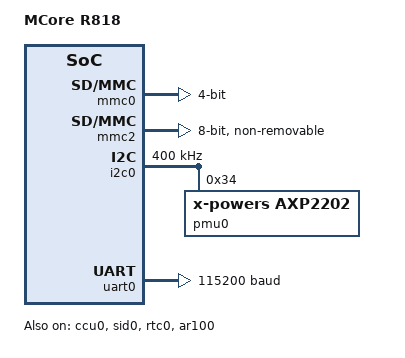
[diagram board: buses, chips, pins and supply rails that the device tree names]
// SPDX-License-Identifier: GPL-2.0+
/dts-v1/;

#include <dt-bindings/dram/dram-param.h>

#include <dt-bindings/gpio/sunxi-gpio.h>
#include <dt-bindings/soc/sun50iw10.h>

/ {
	#address-cells = <1>;
	#size-cells = <1>;
	model = "MCore R818";
	compatible = "syterkit,mcore-r818";

	aliases {
		ar100 = &ar100;
		sid0 = &sid0;
		ccu0 = &ccu0;
		dram0 = &dram0;
		i2c0 = &i2c0;
		mmc0 = &mmc0;
		mmc2 = &mmc2;
		pmu0 = &pmu0;
		rtc0 = &rtc0;
	};

	chosen {
		stdout-path = &uart0;
	};

	ccu0: clock-controller@3001000 {
		compatible = "allwinner,sun50iw10-ccu";
		reg = <SUNXI_CCM_BASE 0x1000>,
		      <SUNXI_RPRCM_BASE 0x1000>,
		      <SUNXI_SYSCRL_BASE 0x1000>,
		      <SUNXI_IOMMU_BASE 0x1000>;
		reg-names = "ccu", "r-prcm", "sysctrl", "iommu";
		status = "okay";
	};

	dram0: dram-controller {
		compatible = "allwinner,sun50iw10-dram";
		allwinner,dram-parameters =
			<0x00000318>,
			<SUNXI_DRAM_LPDDR4>,
			<0x07070707>,
			<0x0d0d0d0d>,
			<0x00000e0e>,
			<0x0d0a050c>,
			<0x000030fa>,
			<0x08001000>,
			<0x00000000>,
			<0x00000034>,
			<0x0000001b>,
			<0x00000033>,
			<0x00000003>,
			<0x00000000>,
			<0x00000000>,
			<0x00000004>,
			<0x00000072>,
			<0x00000000>,
			<0x00000007>,
			<0x00000000>,
			<0x00000000>,
			<0x00000026>,
			<0x06060606>,
			<0x04040404>,
			<0x00000000>,
			<0x74000000>,
			<0x48000000>,
			<0x00273333>,
			<0x201c181f>,
			<0x13151513>,
			<0x00007521>,
			<0x2023211f>;
		allwinner,primary-pmu = <&pmu0>;
		status = "okay";
	};

	pio: pinctrl@300b000 {
		compatible = "allwinner,sunxi-pinctrl";
		reg = <SUNXI_PIO_BASE 0x1000>;
		allwinner,bank-base = <SUNXI_GPIO_PORT_A>;
		allwinner,bank-count = <11>;
		gpio-controller;
		#gpio-cells = <3>;

		mmc0_pins: mmc0-pins {
			allwinner,pins =
				<SUNXI_GPIO_PORT_F 2 2>,
				<SUNXI_GPIO_PORT_F 3 2>,
				<SUNXI_GPIO_PORT_F 1 2>,
				<SUNXI_GPIO_PORT_F 0 2>,
				<SUNXI_GPIO_PORT_F 5 2>,
				<SUNXI_GPIO_PORT_F 4 2>;
		};

		mmc2_pins: mmc2-pins {
			allwinner,pins =
				<SUNXI_GPIO_PORT_C 5 3>,
				<SUNXI_GPIO_PORT_C 6 3>,
				<SUNXI_GPIO_PORT_C 10 3>,
				<SUNXI_GPIO_PORT_C 13 3>,
				<SUNXI_GPIO_PORT_C 15 3>,
				<SUNXI_GPIO_PORT_C 8 3>,
				<SUNXI_GPIO_PORT_C 9 3>,
				<SUNXI_GPIO_PORT_C 11 3>,
				<SUNXI_GPIO_PORT_C 14 3>,
				<SUNXI_GPIO_PORT_C 16 3>,
				<SUNXI_GPIO_PORT_C 0 3>,
				<SUNXI_GPIO_PORT_C 1 3>;
		};

		uart0_pins: uart0-pins {
			allwinner,pins =
				<SUNXI_GPIO_PORT_B 9 2>,
				<SUNXI_GPIO_PORT_B 10 2>;
		};
	};

	r_pio: pinctrl@7022000 {
		compatible = "allwinner,sunxi-pinctrl";
		reg = <SUNXI_RPIO_BASE 0x1000>;
		allwinner,bank-base = <SUNXI_GPIO_PORT_L>;
		allwinner,bank-count = <3>;
		gpio-controller;
		#gpio-cells = <3>;

		i2c0_pins: i2c0-pins {
			allwinner,pins =
				<SUNXI_GPIO_PORT_L 0 2>,
				<SUNXI_GPIO_PORT_L 1 2>;
		};
	};

	reserved-memory {
		#address-cells = <1>;
		#size-cells = <1>;
		ranges;

		mmc0_dma: dma-descriptors@50080000 {
			reg = <0x50080000 0x100000>;
			no-map;
		};

		mmc2_dma: dma-descriptors@50880000 {
			reg = <0x50880000 0x100000>;
			no-map;
		};

		ar100_sram: sram@100000 {
			reg = <0x00100000 0x00014000>;
			no-map;
		};
	};

	soc {
		compatible = "simple-bus";
		#address-cells = <1>;
		#size-cells = <1>;
		ranges;

		sid0: efuse@3006000 {
			compatible = "allwinner,sunxi-sid";
			reg = <SUNXI_SID_BASE 0x400>;
			allwinner,efuse-hv-switch = <(SUNXI_RTC_BASE + 0x204)>;
			status = "okay";
		};

		rtc0: rtc@7000100 {
			compatible = "allwinner,sunxi-rtc";
			reg = <SUNXI_RTC_DATA_BASE 0x100>;
			status = "okay";
		};

		ar100: remoteproc@7000400 {
			compatible = "allwinner,sun50iw10-ar100";
			reg = <SUNXI_SYSCRL_BASE 0x1000>,
			      <SUNXI_CPUS_CFG_BASE 0x400>;
			firmware-name = "ar100s.bin";
			memory-region = <&ar100_sram>;
			allwinner,firmware-format = "raw";
			allwinner,entry-address = <0>;
			allwinner,address-map =
				<0x00000000 0x00000fff 0x00100000>,
				<0x00001000 0xffffffff 0x00104000>;
			allwinner,rtc = <&rtc0>;
			status = "okay";
		};

		mmc0: mmc@4020000 {
			compatible = "allwinner,sunxi-mmc";
			reg = <SUNXI_SMHC0_BASE 0x1000>;
			label = "SD Card";
			allwinner,mmc-id = <0>;
			bus-width = <4>;
			max-frequency = <50000000>;
			memory-region = <&mmc0_dma>;
			allwinner,clock-gate = <(SUNXI_CCM_BASE + 0x84c) 0>;
			allwinner,reset = <(SUNXI_CCM_BASE + 0x84c) 16>;
			allwinner,module-clock =
				<(SUNXI_CCM_BASE + 0x830) 8 0 1>;
			allwinner,clock-source-rates =
				<24000000 300000000 600000000 0>;
			pinctrl-names = "default";
			pinctrl-0 = <&mmc0_pins>;
			status = "okay";
		};

		mmc2: mmc@4022000 {
			compatible = "allwinner,sunxi-mmc";
			reg = <SUNXI_SMHC2_BASE 0x1000>;
			label = "eMMC";
			allwinner,mmc-id = <2>;
			bus-width = <8>;
			max-frequency = <50000000>;
			non-removable;
			memory-region = <&mmc2_dma>;
			allwinner,clock-gate = <(SUNXI_CCM_BASE + 0x84c) 2>;
			allwinner,reset = <(SUNXI_CCM_BASE + 0x84c) 18>;
			allwinner,module-clock =
				<(SUNXI_CCM_BASE + 0x838) 8 0 1>;
			allwinner,clock-source-rates =
				<24000000 400000000 800000000 0>;
			pinctrl-names = "default";
			pinctrl-0 = <&mmc2_pins>;
			status = "okay";
		};

		i2c0: i2c@7081400 {
			compatible = "allwinner,sunxi-i2c";
			#address-cells = <1>;
			#size-cells = <0>;
			reg = <SUNXI_RTWI_BASE 0x400>;
			clock-frequency = <400000>;
			allwinner,i2c-id = <6>;
			allwinner,parent-clock-frequency = <24000000>;
			allwinner,clock-gate = <(SUNXI_RPRCM_BASE + 0x19c) 0>;
			allwinner,reset = <(SUNXI_RPRCM_BASE + 0x19c) 16>;
			pinctrl-names = "default";
			pinctrl-0 = <&i2c0_pins>;
			status = "okay";

			pmu0: pmic@34 {
				compatible = "x-powers,axp2202";
				reg = <0x34>, <0x35>;
				status = "okay";
			};
		};

		uart0: serial@5000000 {
			compatible = "allwinner,sunxi-uart";
			reg = <SUNXI_UART0_BASE 0x400>;
			current-speed = <115200>;
			clock-frequency = <24000000>;
			allwinner,uart-id = <0>;
			allwinner,clock-gate = <(SUNXI_CCM_BASE + 0x90c) 0>;
			allwinner,reset = <(SUNXI_CCM_BASE + 0x90c) 16>;
			pinctrl-names = "default";
			pinctrl-0 = <&uart0_pins>;
			status = "okay";
		};
	};
};
